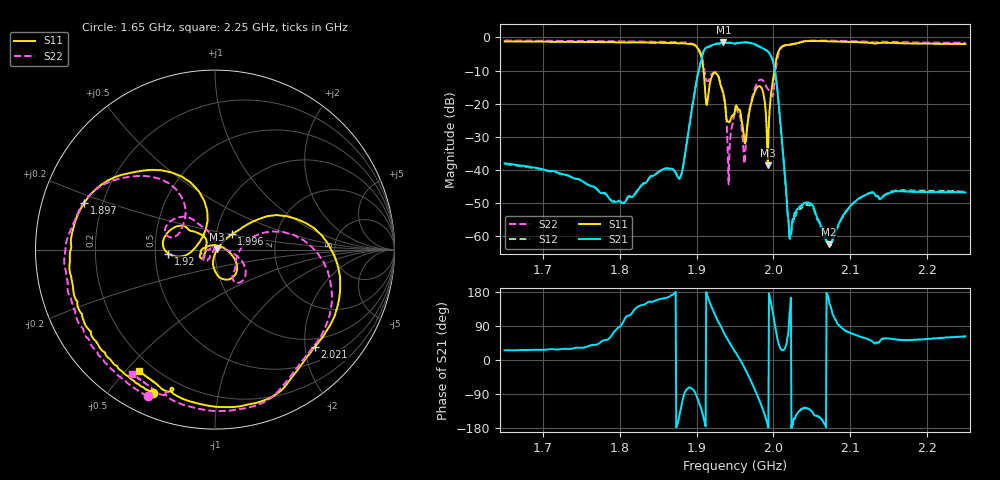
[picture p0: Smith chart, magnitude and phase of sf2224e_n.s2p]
# Hz S RI R 50
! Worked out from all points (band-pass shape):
!   801 points, 1.65 GHz to 2.25 GHz, reference 50 ohm
!   highest |S21| = -1.42 dB at 1.935 GHz (marker M1); lowest = -62.4 dB at 2.072 GHz (marker M2)
!   |S21| within 3 dB of the highest: 1.909 GHz to 1.993 GHz (84.64 MHz wide, 4.34 % of centre)
!   lowest |S11| = -38.6 dB at 1.993 GHz (marker M3), VSWR 1.02, Z = 51.2 + j0.116 ohm
!   |S11| at or under -10 dB: 1.909 GHz to 2.001 GHz (92.21 MHz wide, 4.72 % of centre)
!   |S22| runs from -44.3 to -0.9 dB; largest |S21 - S12| = 0.023
!   S11 on the Smith chart (normalised r, x): 1.65 GHz: 0.10, -0.65; 1.897 GHz: 0.13, +0.17; 1.92 GHz: 0.59, -0.03; 1.996 GHz: 1.19, +0.21; 2.021 GHz: 0.81, -2.21; 2.25 GHz: 0.15, -0.54
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1.65e9  -0.3463 -0.7991  0.0114 0.00543  0.0108 0.00564  -0.3744 -0.8173
1.7505e9  -0.4965 -0.6975  0.00581 0.00367  0.00559 0.00398  -0.5285 -0.7097
1.80375e9  -0.6036 -0.5941  -0.000424 0.00309  -0.000571 0.00312  -0.6321 -0.6028
1.85025e9  -0.7258 -0.4133  -0.0087 0.00322  -0.00883 0.00317  -0.7537 -0.4187
1.87875e9  -0.8005 -0.156  -0.00553 -0.00552  -0.00534 -0.00566  -0.8254 -0.1585
1.89675e9  -0.7293 0.2597  0.0196 -0.1311  0.025 -0.1342  -0.756 0.223
1.90725e9  -0.1873 0.4082  -0.3841 -0.3539  -0.3992 -0.3572  -0.3028 0.3929
1.91325e9  -0.0842 0.0446  -0.7057 0.0722  -0.6948 0.0765  -0.18 0.1323
1.92e9  -0.2597 -0.0221  -0.5642 0.514  -0.5667 0.4936  -0.27 0.0813
1.935e9  -0.1029 0.0957  0.2273 0.818  0.2168 0.8263  -0.0565 0.1192
1.9425e9  -0.0522 -0.00289  0.5635 0.608  0.5562 0.617  -0.0102 -0.0113
1.95e9  -0.0636 -0.0478  0.7442 0.3042  0.7407 0.3142  -0.0426 -0.0614
1.96275e9  -0.00357 0.0252  0.7824 -0.3205  0.7831 -0.3225  0.0046 0.012
1.97475e9  0.1194 -0.0752  0.2324 -0.7663  0.2287 -0.7485  0.1463 -0.0583
1.99275e9  0.0116 0.00113  -0.6068 -0.0779  -0.6155 -0.0871  0.1023 -0.1318
1.9965e9  0.0938 0.0855  -0.482 0.2265  -0.4882 0.2361  0.1146 -0.0931
2.00625e9  0.5959 0.0784  0.0829 0.0898  0.0829 0.0825  0.54 0.0134
2.02125e9  0.5565 -0.5417  -0.000569 0.000719  -0.000547 0.000691  0.5121 -0.5872
2.0505e9  0.2082 -0.8588  -0.00215 -0.00211  -0.00187 -0.00207  0.165 -0.8846
2.07225e9  0.00625 -0.875  -0.000711 0.000256  -0.000737 0.000153  -0.0312 -0.8972
2.15025e9  -0.2896 -0.7799  0.00245 0.00374  0.00209 0.00406  -0.3227 -0.7979
2.25e9  -0.4261 -0.6742  0.00212 0.00404  0.00187 0.00432  -0.4606 -0.6921
